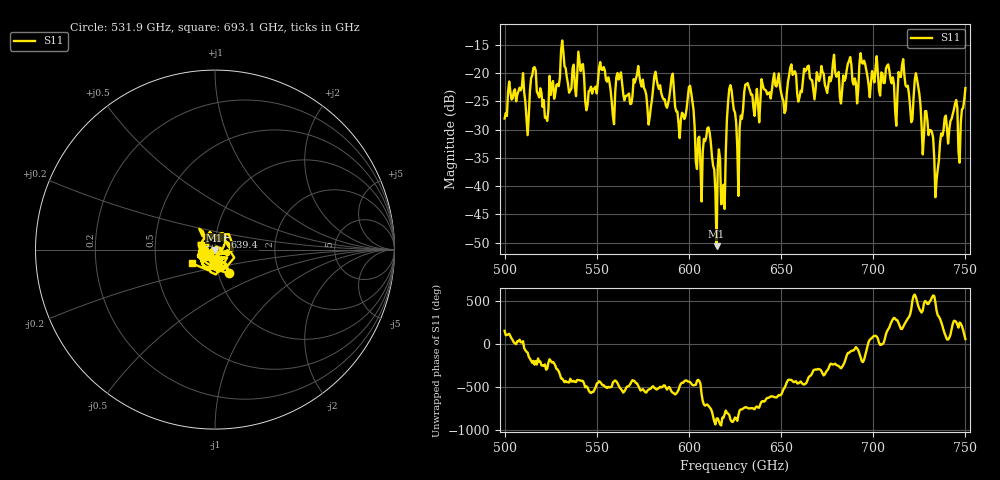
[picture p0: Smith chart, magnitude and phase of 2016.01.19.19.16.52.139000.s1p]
!Created with skrf (http://scikit-rf.org).
# GHz S RI R 50.0
!freq ReS11 ImS11
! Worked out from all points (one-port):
!   401 points, 500 GHz to 750 GHz, reference 50 ohm
!   lowest |S11| = -50.6 dB at 615 GHz (marker M1), VSWR 1.01, Z = 49.8 - j0.176 ohm
!   |S11| at or under -10 dB: start of sweep to end of sweep
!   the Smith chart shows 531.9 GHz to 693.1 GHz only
!   S11 on the Smith chart (normalised r, x): 531.9 GHz: 1.12, -0.31; 639.4 GHz: 1.10, +0.15; 693.1 GHz: 0.76, -0.12
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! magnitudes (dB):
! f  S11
! 500 GHz  -28.0
! 508.8 GHz  -23.1
! 512.5 GHz  -31.0
! 515.6 GHz  -19.1
! 522.5 GHz  -27.8
! 531.2 GHz  -14.2
! 531.9 GHz  -16.3
! 545 GHz  -25.6
! 562.5 GHz  -20.6
! 578.8 GHz  -27.8
! 590.6 GHz  -20.6
! 593.8 GHz  -26.8
! 600.6 GHz  -22.2
! 605.6 GHz  -31.2
! 610.6 GHz  -29.6
! 615 GHz  -50.6
! 618.8 GHz  -39.7
! 621.9 GHz  -22.8
! 625 GHz  -27.0
! 639.4 GHz  -21.1
! 656.2 GHz  -20.3
! 687.5 GHz  -17.2
! 693.1 GHz  -16.5
! 718.8 GHz  -22.2
! 723.8 GHz  -21.1
! 734.4 GHz  -38.8
! 738.1 GHz  -30.2
! 750 GHz  -22.7
